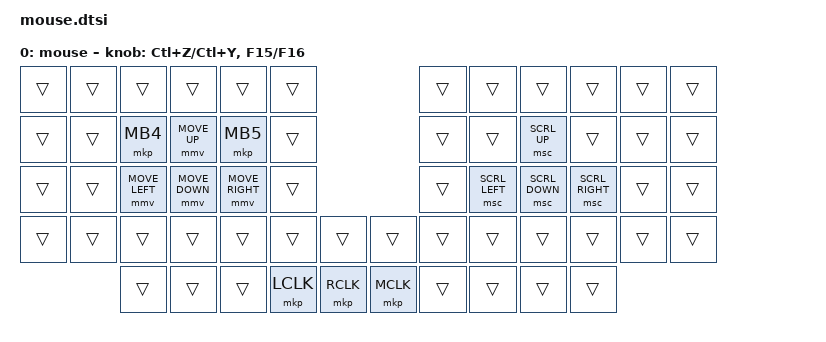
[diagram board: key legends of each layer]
/ {
    keymap {
        compatible = "zmk,keymap";
        
        mouse {
            display-name = "mouse";
            bindings = <
&trans         &trans         &trans          &trans         &trans          &trans                                        &trans          &trans          &trans         &trans          &trans            &trans
&trans         &trans         &mkp MB4        &mmv MOVE_UP   &mkp MB5        &trans                                        &trans          &trans          &msc SCRL_UP   &trans          &trans            &trans
&trans         &trans         &mmv MOVE_LEFT  &mmv MOVE_DOWN &mmv MOVE_RIGHT &trans                                        &trans          &msc SCRL_LEFT  &msc SCRL_DOWN &msc SCRL_RIGHT &trans            &trans
&trans         &trans         &trans          &trans         &trans          &trans           &trans         &trans        &trans          &trans          &trans         &trans          &trans            &trans
                              &trans          &trans         &trans          &mkp LCLK        &mkp RCLK      &mkp MCLK     &trans          &trans          &trans         &trans
            >;

            sensor-bindings = <&inc_dec_kp LC(Z) LC(Y) &inc_dec_kp F15 F16>;
        };
    };
};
